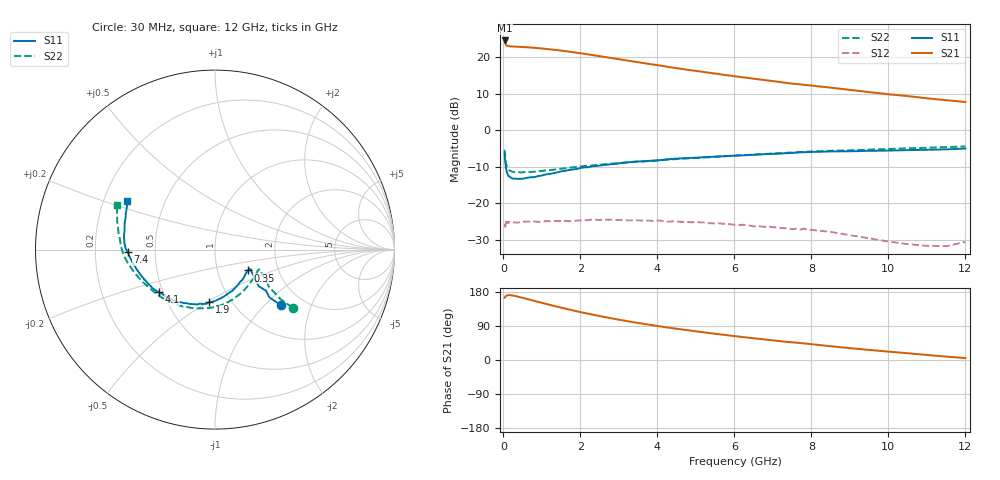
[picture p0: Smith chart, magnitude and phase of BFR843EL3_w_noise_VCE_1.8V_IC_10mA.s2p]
! Infineon Technologies  Discrete & RF Semiconductors
! BFR843EL3
! VCE =  1.8 V,  IC =  10 mA
! Common Emitter S-Parameters:  Aug 2013
# GHz  S  MA  R  50
!  f  S11  S21  S12  S22
! GHz  MAG  ANG  MAG  ANG  MAG  ANG  MAG  ANG
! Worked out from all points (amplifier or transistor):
!   103 points, 30 MHz to 12 GHz, reference 50 ohm
!   highest |S21| = 24.6 dB at 30 MHz (marker M1)
!   |S21| within 3 dB of that: start of sweep to 1.658 GHz
!   unconditionally stable (mu >= 1): 5.418 GHz to end of sweep
!   at 400 MHz: K = 1.00, MSG = 24.0 dB, |S12| = -25.2 dB
!   at 3.7 GHz: K = 0.86, MSG = 21.5 dB, |S12| = -24.7 dB
!   at 12 GHz: K = 3.02, MAG = 11.5 dB, |S12| = -30.6 dB
!   lowest NFmin = 0.89 dB at 450 MHz
!   S11 on the Smith chart (normalised r, x): 30 MHz: 1.55, -1.26; 350 MHz: 1.40, -0.34; 1.9 GHz: 0.79, -0.51; 4.1 GHz: 0.47, -0.27; 7.4 GHz: 0.35, -0.01; 12 GHz: 0.30, +0.24
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0.03  0.4833 -40.1  17.02 164.3  0.0481 29.8  0.5395 -36.8
0.04  0.4033 -41.3  16.03 165.6  0.0511 21.6  0.4574 -37.1
0.06  0.3176 -39.9  14.99 168.1  0.0576 18.6  0.3682 -34.9
0.08  0.2787 -36.2  14.59 169.8  0.0549 12.4  0.3268 -31.6
0.12  0.2438 -32.1  14.3 171.0  0.0542 8.5  0.2936 -26.7
0.2  0.2239 -28.9  14.09 170.8  0.0559 5.0  0.2754 -24.2
0.35  0.2159 -32.5  13.96 167.8  0.0542 4.2  0.2649 -27.2
0.7  0.2272 -47.9  13.63 158.7  0.0562 2.4  0.2685 -40.7
1.2  0.2532 -71.7  12.88 145.6  0.0569 1.7  0.285 -62.3
1.5  0.2737 -83.3  12.37 138.1  0.057 1.5  0.2981 -73.6
1.9  0.2957 -96.3  11.55 128.6  0.058 -0.0  0.3153 -86.9
2.1  0.3107 -102.6  11.16 124.2  0.0584 -0.2  0.3238 -93.6
2.6  0.3351 -115.7  10.18 113.9  0.0605 -2.4  0.342 -106.5
3  0.3528 -124.1  9.408 106.4  0.0591 -3.5  0.3555 -115.6
3.5  0.3748 -133.8  8.558 97.7  0.0585 -5.5  0.3728 -125.6
4.1  0.3928 -142.9  7.656 88.2  0.0578 -6.1  0.3897 -134.8
5.1  0.4254 -156.4  6.405 74.3  0.0549 -10.3  0.4199 -148.6
6.1  0.4527 -166.8  5.423 62.0  0.0502 -12.4  0.4529 -159.8
7.4  0.487 -178.4  4.428 47.5  0.045 -13.9  0.4944 -172.1
8.5  0.5131 171.3  3.841 36.3  0.0406 -15.8  0.5252 177.8
10.5  0.535 158.3  2.945 17.9  0.0276 -0.5  0.5668 164.0
12  0.5635 151.0  2.444 5.1  0.0296 26.9  0.6016 155.8
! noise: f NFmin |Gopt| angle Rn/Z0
0.45  0.89  0.06  61  0.12
0.9  0.91  0.07  70  0.12
1.5  0.93  0.08  78  0.12
1.9  0.95  0.08  82  0.12
2.4  0.96  0.09  94  0.12
3.5  0.99  0.11  109  0.11
5.5  1.05  0.17  142  0.11
8  1.12  0.28  177  0.07
10  1.17  0.4  212  0.06
